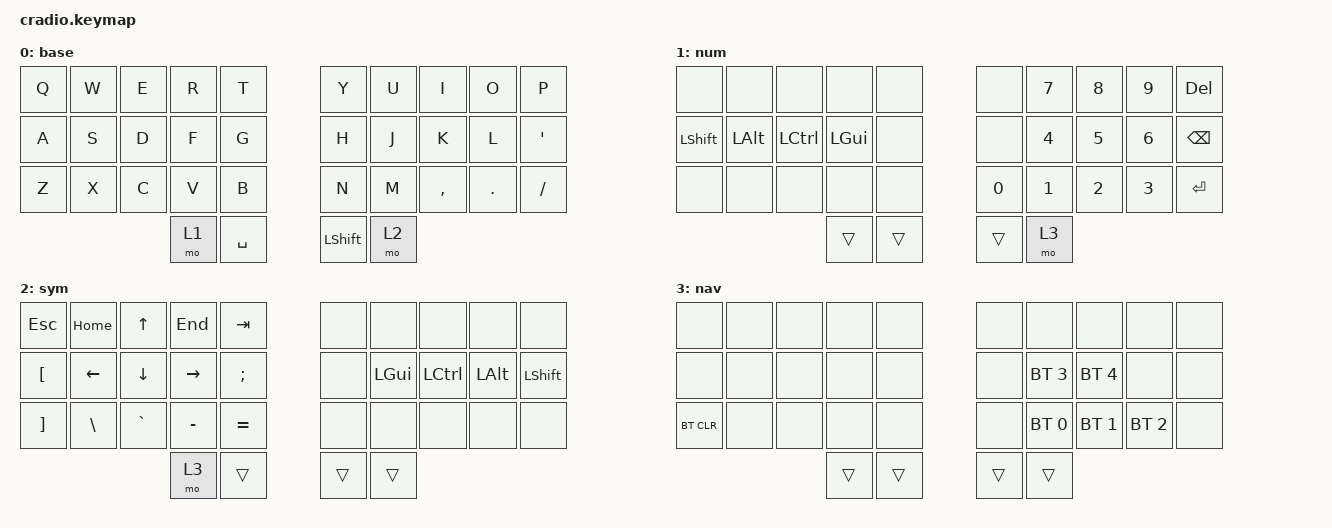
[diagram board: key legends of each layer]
#include <behaviors.dtsi>
#include <dt-bindings/zmk/bt.h>
#include <dt-bindings/zmk/keys.h>

&sk { quick-release; };

/ {
    combos {
        compatible = "zmk,combos";

        right-enter {
            bindings = <&kp ENTER>;
            key-positions = <28 27>;
        };

        right-tab {
            bindings = <&kp TAB>;
            key-positions = <7 8>;
        };

        left-escape {
            bindings = <&kp ESCAPE>;
            key-positions = <1 2>;
        };

        left-caps-word {
            bindings = <&caps_word>;
            key-positions = <21 22>;
        };

        workspace_1 {
            bindings = <&kp LG(NUMBER_1)>;
            key-positions = <32 26>;
        };

        workspace_2 {
            bindings = <&kp LG(NUMBER_2)>;
            key-positions = <32 27>;
        };

        workspace_3 {
            bindings = <&kp LG(NUMBER_3)>;
            key-positions = <32 28>;
        };

        workspace_4 {
            bindings = <&kp LG(NUMBER_4)>;
            key-positions = <32 16>;
        };

        workspace_5 {
            bindings = <&kp LG(NUMBER_5)>;
            key-positions = <32 17>;
        };

        workspace_6 {
            bindings = <&kp LG(NUMBER_6)>;
            key-positions = <32 18>;
        };

        workspace_7 {
            bindings = <&kp LG(NUMBER_7)>;
            key-positions = <32 6>;
        };

        workspace_8 {
            bindings = <&kp LG(NUMBER_8)>;
            key-positions = <32 7>;
        };

        workspace_9 {
            bindings = <&kp LG(NUMBER_9)>;
            key-positions = <32 8>;
        };

        left-shift {
            bindings = <&sk LEFT_SHIFT>;
            key-positions = <13 12>;
        };

        left-gui {
            bindings = <&sk LEFT_GUI>;
            key-positions = <10 11>;
        };

        left-ctl {
            bindings = <&sk LCTRL>;
            key-positions = <11 12>;
        };

        left-alt {
            bindings = <&sk LEFT_ALT>;
            key-positions = <23 22>;
        };

        left-bootloader {
            bindings = <&bootloader>;
            key-positions = <10 11 12 13>;
        };

        right-bootloader {
            bindings = <&bootloader>;
            key-positions = <16 17 18 19>;
        };
    };

    keymap {
        compatible = "zmk,keymap";

        base {
            bindings = <
&kp Q  &kp W  &kp E  &kp R  &kp T        &kp Y           &kp U  &kp I      &kp O    &kp P
&kp A  &kp S  &kp D  &kp F  &kp G        &kp H           &kp J  &kp K      &kp L    &kp SQT
&kp Z  &kp X  &kp C  &kp V  &kp B        &kp N           &kp M  &kp COMMA  &kp DOT  &kp FSLH
                     &mo 1  &kp SPACE    &kp LEFT_SHIFT  &mo 2
            >;
        };

        num {
            bindings = <
&none           &none         &none      &none         &none     &none         &kp N7  &kp N8  &kp N9  &kp DELETE
&kp LEFT_SHIFT  &kp LEFT_ALT  &kp LCTRL  &kp LEFT_GUI  &none     &none         &kp N4  &kp N5  &kp N6  &kp BACKSPACE
&none           &none         &none      &none         &none     &kp NUMBER_0  &kp N1  &kp N2  &kp N3  &kp ENTER
                                         &trans        &trans    &trans        &mo 3
            >;
        };

        sym {
            bindings = <
&kp ESCAPE  &kp HOME       &kp UP     &kp END    &kp TAB          &none   &none         &none      &none         &none
&kp LBKT    &kp LEFT       &kp DOWN   &kp RIGHT  &kp SEMICOLON    &none   &kp LEFT_GUI  &kp LCTRL  &kp LEFT_ALT  &kp LEFT_SHIFT
&kp RBKT    &kp BACKSLASH  &kp GRAVE  &kp MINUS  &kp EQUAL        &none   &none         &none      &none         &none
                                      &mo 3      &trans           &trans  &trans
            >;
        };

        nav {
            bindings = <
&none       &none  &none  &none   &none     &none   &none         &none         &none         &none
&none       &none  &none  &none   &none     &none   &bt BT_SEL 3  &bt BT_SEL 4  &none         &none
&bt BT_CLR  &none  &none  &none   &none     &none   &bt BT_SEL 0  &bt BT_SEL 1  &bt BT_SEL 2  &none
                          &trans  &trans    &trans  &trans
            >;
        };
    };
};
